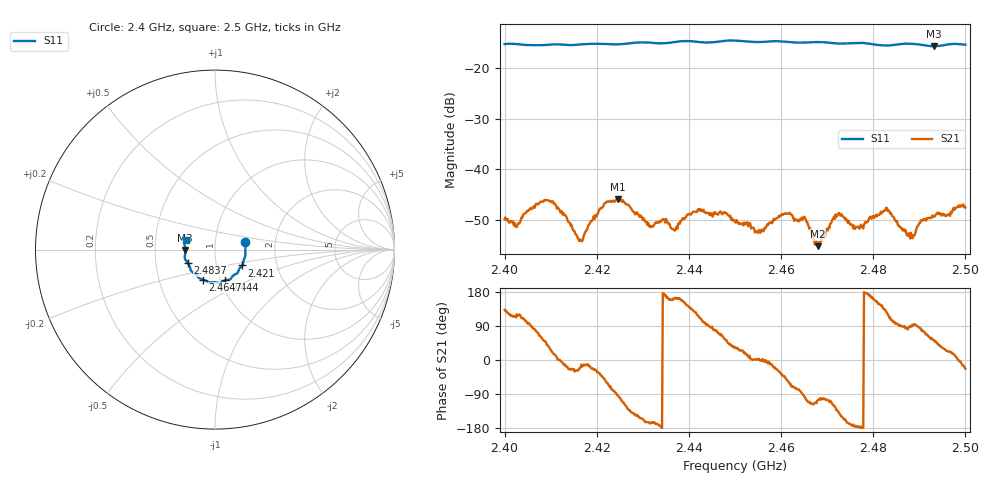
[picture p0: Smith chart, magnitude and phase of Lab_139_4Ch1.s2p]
# Hz S RI R 50
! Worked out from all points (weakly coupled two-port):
!   601 points, 2.4 GHz to 2.5 GHz, reference 50 ohm
!   highest |S21| = -45.96 dB at 2.4245 GHz (marker M1); lowest = -55.2 dB at 2.468 GHz (marker M2)
!   lowest |S11| = -15.6 dB at 2.4932 GHz (marker M3), VSWR 1.40, Z = 35.8 - j0.0988 ohm
!   |S11| at or under -10 dB: start of sweep to end of sweep
!   S12 and S22 are empty: the file has one direction only
!   S11 on the Smith chart (normalised r, x): 2.4 GHz: 1.40, +0.12; 2.421 GHz: 1.33, -0.24; 2.444 GHz: 1.06, -0.37; 2.4647 GHz: 0.83, -0.29; 2.4837 GHz: 0.73, -0.11; 2.5 GHz: 0.72, +0.08
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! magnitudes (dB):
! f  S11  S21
! 2.4 GHz  -15.2  -49.9
! 2.4028 GHz  -15.2  -50.8
! 2.4095 GHz  -15.3  -46.2
! 2.4167 GHz  -15.3  -54.2
! 2.421 GHz  -15.2  -47.7
! 2.4245 GHz  -15.3  -46.0
! 2.4333 GHz  -15.1  -50.4
! 2.437 GHz  -14.8  -52.2
! 2.444 GHz  -14.9  -48.6
! 2.45 GHz  -14.5  -50.3
! 2.455 GHz  -14.8  -52.6
! 2.4607 GHz  -14.7  -48.9
! 2.4647 GHz  -14.9  -50.0
! 2.4667 GHz  -14.8  -52.9
! 2.468 GHz  -14.8  -55.2
! 2.4723 GHz  -15.1  -49.0
! 2.4765 GHz  -15.0  -51.5
! 2.4833 GHz  -15.5  -48.1
! 2.4837 GHz  -15.5  -48.8
! 2.4883 GHz  -15.1  -53.6
! 2.4932 GHz  -15.6  -49.3
! 2.5 GHz  -15.3  -47.6
